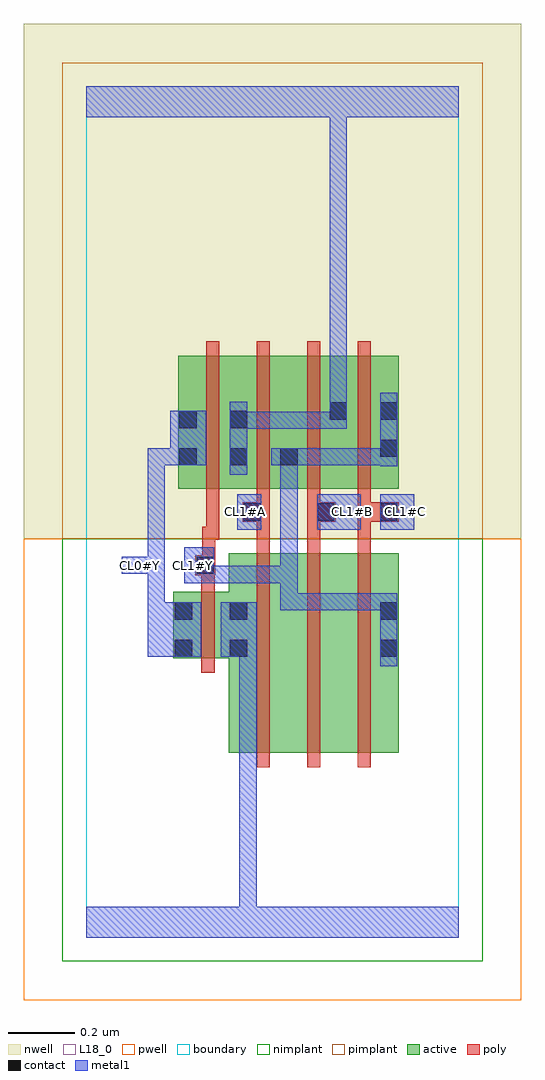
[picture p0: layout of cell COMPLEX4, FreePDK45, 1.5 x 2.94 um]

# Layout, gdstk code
import gdstk
lib = gdstk.Library(unit=1e-6, precision=1e-09)
def R(c, l, rs):  # rectangles x0, y0, x1, y1
    for r in rs: c.add(gdstk.rectangle(r[:2], r[2:], *l))
def A(c, l, x, y, w, h, nx, ny, dx, dy):  # array of equal rectangles
    R(c, l, [(x+i*dx, y+j*dy, x+i*dx+w, y+j*dy+h) for i in range(nx) for j in range(ny)])
active = (1, 0)
pwell = (2, 0)
nwell = (3, 0)
nimplant = (4, 0)
pimplant = (5, 0)
poly = (9, 0)
contact = (10, 0)
metal1 = (11, 0)
L18_0 = (18, 0)
boundary = (235, 0)

complex4 = lib.new_cell('COMPLEX4')
A(complex4, active, 0.276, 1.35, 0.06, 0.294, 3, 1, 0.152, 0)
R(complex4, active, [(0.428,0.556,0.608,1.156), (0.608,0.556,0.76,1.156), (0.76,0.556,0.94,1.156), (0.88,0.556,0.94,1.156), (0.262,0.84,0.322,1.04), (0.262,0.84,0.488,1.04), (0.428,0.84,0.488,1.04), (0.276,1.35,0.488,1.75), (0.428,1.35,0.64,1.75), (0.58,1.35,0.788,1.75), (0.728,1.35,0.788,1.644), (0.728,1.35,0.94,1.75), (0.88,1.35,0.94,1.644)])
R(complex4, pwell, [(-0.188,-0.188,1.308,1.2)])
R(complex4, nwell, [(-0.188,1.2,1.308,2.748)])
R(complex4, nimplant, [(-0.072,-0.072,1.192,1.2)])
R(complex4, pimplant, [(-0.072,1.2,1.192,2.632)])
A(complex4, poly, 0.512, 0.512, 0.04, 0.688, 3, 1, 0.152, 0)
A(complex4, poly, 0.512, 1.16, 0.04, 0.13, 3, 1, 0.152, 0)
A(complex4, poly, 0.512, 1.27, 0.04, 0.076, 3, 1, 0.152, 0)
A(complex4, poly, 0.36, 1.306, 0.04, 0.488, 4, 1, 0.152, 0)
R(complex4, poly, [(0.346,0.796,0.386,1.084), (0.346,1.044,0.386,1.13), (0.328,1.09,0.388,1.15), (0.348,1.11,0.388,1.236), (0.348,1.196,0.4,1.236), (0.36,1.196,0.4,1.346), (0.47,1.25,0.552,1.31), (0.512,1.25,0.552,1.29), (0.512,1.25,0.552,1.29), (0.664,1.25,0.75,1.31), (0.816,1.25,0.94,1.31), (0.664,1.27,0.704,1.31), (0.664,1.27,0.704,1.31), (0.816,1.27,0.856,1.31), (0.816,1.27,0.856,1.31)])
A(complex4, contact, 0.28, 1.42, 0.052, 0.052, 3, 1, 0.152, 0)
R(complex4, contact, [(0.266,0.844,0.318,0.896), (0.432,0.844,0.484,0.896), (0.884,0.844,0.936,0.896), (0.266,0.956,0.318,1.008), (0.432,0.956,0.484,1.008), (0.884,0.956,0.936,1.008), (0.332,1.094,0.384,1.146), (0.474,1.254,0.526,1.306), (0.694,1.254,0.746,1.306), (0.884,1.254,0.936,1.306), (0.884,1.446,0.936,1.498), (0.28,1.532,0.332,1.584), (0.432,1.532,0.484,1.584), (0.732,1.558,0.784,1.61), (0.884,1.558,0.936,1.61)])
R(complex4, metal1, [(0,0,1.12,0.092), (0.46,0.04,0.512,0.092), (0.46,0.04,0.512,0.092), (0.46,0.04,0.512,0.092), (0.46,0.04,0.512,0.092), (0.46,0.04,0.512,0.896), (0.884,0.816,0.936,1.036), (0.184,0.844,0.346,1.008), (0.404,0.844,0.512,1.008), (0.46,0.844,0.512,0.896), (0.46,0.844,0.512,0.896), (0.46,0.844,0.512,0.896), (0.46,0.844,0.512,0.896), (0.184,0.956,0.236,1.146), (0.584,0.984,0.636,1.036), (0.584,0.984,0.774,1.036), (0.584,0.984,0.636,1.118), (0.722,0.984,0.774,1.036), (0.722,0.984,0.774,1.036), (0.722,0.984,0.774,1.036), (0.722,0.984,0.936,1.036), (0.884,0.984,0.936,1.036), (0.884,0.984,0.936,1.036), (0.294,1.066,0.384,1.174), (0.332,1.066,0.384,1.118), (0.332,1.066,0.384,1.118), (0.332,1.066,0.636,1.118), (0.584,1.066,0.636,1.118), (0.584,1.066,0.636,1.118), (0.584,1.066,0.636,1.118), (0.584,1.066,0.636,1.472), (0.106,1.094,0.236,1.146), (0.184,1.094,0.236,1.472), (0.454,1.226,0.526,1.334), (0.694,1.226,0.826,1.334), (0.884,1.226,0.986,1.334), (0.432,1.392,0.484,1.612), (0.884,1.418,0.936,1.638), (0.184,1.42,0.304,1.472), (0.252,1.42,0.304,1.472), (0.252,1.42,0.36,1.584), (0.556,1.42,0.664,1.472), (0.584,1.42,0.636,1.472), (0.584,1.42,0.636,1.472), (0.612,1.42,0.826,1.472), (0.774,1.42,0.826,1.472), (0.774,1.42,0.826,1.472), (0.774,1.42,0.826,1.472), (0.774,1.42,0.936,1.472), (0.884,1.42,0.936,1.472), (0.884,1.42,0.936,1.472), (0.432,1.53,0.636,1.582), (0.584,1.53,0.636,1.582), (0.584,1.53,0.636,1.582), (0.584,1.53,0.636,1.582), (0.584,1.53,0.784,1.582), (0.732,1.53,0.784,1.582), (0.732,1.53,0.784,1.582), (0.732,1.53,0.784,1.638), (0.732,1.586,0.784,1.638), (0.732,1.586,0.784,1.638), (0.732,1.586,0.784,1.638), (0.732,1.586,0.784,1.638), (0.732,1.586,0.784,1.638), (0.732,1.586,0.784,1.638), (0.732,1.586,0.784,1.638), (0.732,1.586,0.784,1.638), (0.732,1.586,0.784,2.52), (0,2.468,1.12,2.56), (0.732,2.468,0.784,2.52), (0.732,2.468,0.784,2.52), (0.732,2.468,0.784,2.52), (0.732,2.468,0.784,2.52), (0.732,2.468,0.784,2.52), (0.732,2.468,0.784,2.52), (0.732,2.468,0.784,2.52), (0.732,2.468,0.784,2.52)])
R(complex4, L18_0, [(0,0,1.12,0.092), (0.46,0.04,0.512,0.092), (0.46,0.04,0.512,0.092), (0.46,0.04,0.512,0.092), (0.46,0.04,0.512,0.092), (0.46,0.04,0.512,0.896), (0.884,0.816,0.936,1.036), (0.184,0.844,0.346,1.008), (0.404,0.844,0.512,1.008), (0.46,0.844,0.512,0.896), (0.46,0.844,0.512,0.896), (0.46,0.844,0.512,0.896), (0.46,0.844,0.512,0.896), (0.184,0.956,0.236,1.146), (0.584,0.984,0.636,1.036), (0.584,0.984,0.636,1.118), (0.584,0.984,0.774,1.036), (0.722,0.984,0.774,1.036), (0.722,0.984,0.774,1.036), (0.722,0.984,0.774,1.036), (0.722,0.984,0.936,1.036), (0.884,0.984,0.936,1.036), (0.884,0.984,0.936,1.036), (0.294,1.066,0.384,1.174), (0.332,1.066,0.384,1.118), (0.332,1.066,0.384,1.118), (0.332,1.066,0.636,1.118), (0.584,1.066,0.636,1.118), (0.584,1.066,0.636,1.118), (0.584,1.066,0.636,1.118), (0.584,1.066,0.636,1.472), (0.106,1.094,0.236,1.146), (0.134,1.094,0.186,1.146), (0.184,1.094,0.236,1.472), (0.294,1.094,0.346,1.146), (0.454,1.226,0.526,1.334), (0.694,1.226,0.826,1.334), (0.884,1.226,0.986,1.334), (0.454,1.254,0.506,1.306), (0.774,1.254,0.826,1.306), (0.934,1.254,0.986,1.306), (0.432,1.392,0.484,1.612), (0.884,1.418,0.936,1.638), (0.184,1.42,0.304,1.472), (0.252,1.42,0.36,1.584), (0.252,1.42,0.304,1.472), (0.556,1.42,0.664,1.472), (0.584,1.42,0.636,1.472), (0.584,1.42,0.636,1.472), (0.612,1.42,0.826,1.472), (0.774,1.42,0.826,1.472), (0.774,1.42,0.826,1.472), (0.774,1.42,0.826,1.472), (0.774,1.42,0.936,1.472), (0.884,1.42,0.936,1.472), (0.884,1.42,0.936,1.472), (0.432,1.53,0.636,1.582), (0.584,1.53,0.636,1.582), (0.584,1.53,0.636,1.582), (0.584,1.53,0.636,1.582), (0.584,1.53,0.784,1.582), (0.732,1.53,0.784,1.582), (0.732,1.53,0.784,1.582), (0.732,1.53,0.784,1.638), (0.732,1.586,0.784,1.638), (0.732,1.586,0.784,1.638), (0.732,1.586,0.784,1.638), (0.732,1.586,0.784,1.638), (0.732,1.586,0.784,1.638), (0.732,1.586,0.784,1.638), (0.732,1.586,0.784,1.638), (0.732,1.586,0.784,1.638), (0.732,1.586,0.784,2.52), (0,2.468,1.12,2.56), (0.732,2.468,0.784,2.52), (0.732,2.468,0.784,2.52), (0.732,2.468,0.784,2.52), (0.732,2.468,0.784,2.52), (0.732,2.468,0.784,2.52), (0.732,2.468,0.784,2.52), (0.732,2.468,0.784,2.52), (0.732,2.468,0.784,2.52)])
R(complex4, boundary, [(0,0,1.12,2.56)])
complex4.add(gdstk.Label('CL0#Y', (0.16,1.12), layer=11, texttype=0))
complex4.add(gdstk.Label('CL1#A', (0.48,1.28), layer=11, texttype=0))
complex4.add(gdstk.Label('CL1#B', (0.8,1.28), layer=11, texttype=0))
complex4.add(gdstk.Label('CL1#C', (0.96,1.28), layer=11, texttype=0))
complex4.add(gdstk.Label('CL1#Y', (0.32,1.12), layer=11, texttype=0))

lib.write_gds('COMPLEX4.gds')
